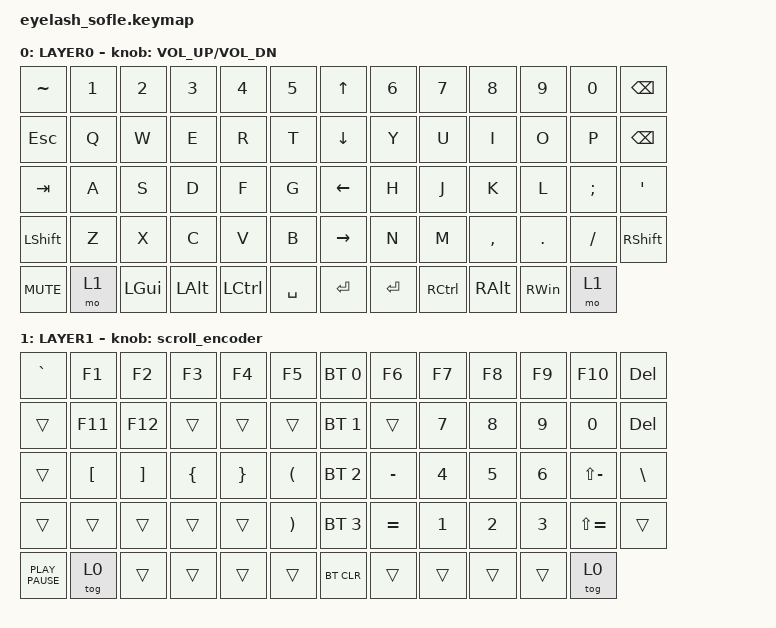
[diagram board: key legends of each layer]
#define ZMK_POINTING_DEFAULT_MOVE_VAL 1200  // 600
#define ZMK_POINTING_DEFAULT_SCRL_VAL 25   // 10

#include <input/processors.dtsi>
#include <zephyr/dt-bindings/input/input-event-codes.h>
#include <behaviors.dtsi>
#include <behaviors/runtime-sensor-rotate.dtsi>
#include <dt-bindings/zmk/bt.h>
#include <dt-bindings/zmk/keys.h>
#include <dt-bindings/zmk/outputs.h>
#include <dt-bindings/zmk/pointing.h>
#include <dt-bindings/zmk/rgb.h>

&mmv_input_listener { input-processors = <&zip_xy_scaler 2 1>; };

&msc_input_listener { input-processors = <&zip_scroll_scaler 2 1>; };

&msc {
    acceleration-exponent = <1>;      // 0
    time-to-max-speed-ms = <100>;       // 300
    delay-ms = <0>;                   // 0
};

&mmv {
    time-to-max-speed-ms = <500>;
    acceleration-exponent = <1>;
    trigger-period-ms = <16>;
};

&soft_off { hold-time-ms = <2000>; };

/ {
    scroll_encoder: scroll_encoder {
        compatible = "zmk,behavior-sensor-rotate";
        #sensor-binding-cells = <0>;
        bindings = <&msc SCRL_DOWN>, <&msc SCRL_UP>;

        tap-ms = <100>;
    };

    behaviors {
        rsr_vol: rsr_vol {
            compatible = "zmk,behavior-runtime-sensor-rotate";
            #sensor-binding-cells = <0>;
            tap-ms = <5>;
            cw-binding = <&kp C_VOL_UP>;
            ccw-binding = <&kp C_VOL_DN>;
        };

        rsr_trans: rsr_trans {
            compatible = "zmk,behavior-runtime-sensor-rotate";
            #sensor-binding-cells = <0>;
            tap-ms = <0>;
        };
    };

    combos {
        compatible = "zmk,combos";

        softoff {
            bindings = <&soft_off>;
            key-positions = <14 28 40>;
        };
    };

    macros {
        SHIFT_MCLK: SHIFT_MCLK {
            compatible = "zmk,behavior-macro";
            #binding-cells = <0>;
            bindings =
                <&macro_press>,
                <&kp LEFT_SHIFT>,
                <&macro_press>,
                <&mkp MB3>,
                <&macro_pause_for_release>,
                <&macro_release>,
                <&kp LEFT_SHIFT &mkp MB3>;

            label = "SHIFT_MCLK";
        };
    };

    keymap {
        compatible = "zmk,keymap";
        layer0 {
            bindings = <
&kp TILDE   &kp N1  &kp N2        &kp N3        &kp N4     &kp N5       &kp UP_ARROW     &kp N6     &kp N7     &kp N8     &kp N9         &kp N0    &kp BACKSPACE
&kp ESCAPE  &kp Q   &kp W         &kp E         &kp R      &kp T        &kp DOWN_ARROW   &kp Y      &kp U      &kp I      &kp O          &kp P     &kp BACKSPACE
&kp TAB     &kp A   &kp S         &kp D         &kp F      &kp G        &kp LEFT_ARROW   &kp H      &kp J      &kp K      &kp L          &kp SEMI  &kp APOS
&kp LSHFT   &kp Z   &kp X         &kp C         &kp V      &kp B        &kp RIGHT_ARROW  &kp N      &kp M      &kp COMMA  &kp DOT        &kp FSLH  &kp RSHIFT
&kp C_MUTE  &mo 1   &kp LEFT_GUI  &kp LEFT_ALT  &kp LCTRL  &kp SPACE    &kp ENTER        &kp ENTER  &kp RCTRL  &kp RALT   &kp RIGHT_WIN  &mo 1
            >;

            sensor-bindings = <&inc_dec_kp C_VOLUME_UP C_VOL_DN>;
            display-name = "LAYER0";
        };

        layer_1 {
            bindings = <
&kp GRAVE   &kp F1            &kp F2             &kp F3            &kp F4           &kp F5                   &bt BT_SEL 0     &kp F6     &kp F7        &kp F8  &kp F9        &kp F10        &kp DELETE
&trans      &kp F11           &kp F12            &trans  		   &trans           &trans                   &bt BT_SEL 1     &trans  	 &kp N7        &kp N8  &kp N9        &kp N0         &kp DELETE
&trans      &kp LEFT_BRACKET  &kp RIGHT_BRACKET  &kp LEFT_BRACE    &kp RIGHT_BRACE  &kp LEFT_PARENTHESIS     &bt BT_SEL 2     &kp MINUS  &kp N4  	   &kp N5  &kp N6  	   	 &kp LS(MINUS)  &kp BACKSLASH
&trans      &trans      	  &trans       		 &trans      	   &trans           &kp RIGHT_PARENTHESIS    &bt BT_SEL 3     &kp EQUAL  &kp N1        &kp N2  &kp N3        &kp LS(EQUAL)  &trans
&kp K_PLAY_PAUSE  &tog 0      &trans             &trans            &trans           &trans                   &bt BT_CLR        &trans    &trans        &trans  &trans        &tog 0
            >;

            sensor-bindings = <&scroll_encoder>;
            display-name = "LAYER1";
        };

    };
};
